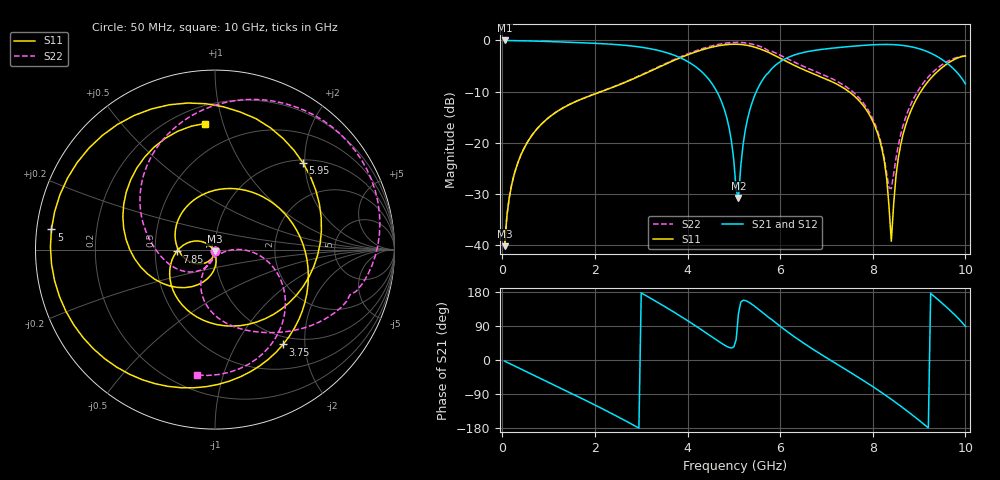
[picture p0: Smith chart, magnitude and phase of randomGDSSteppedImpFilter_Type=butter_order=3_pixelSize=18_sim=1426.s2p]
! freq	dB(S11)	phase(S11)	dB(S12)	phase(S12)
!  dB(S21)	phase(S21)	dB(S22)	phase(S22)
!S-par simulation data
#  GHz  S  DB  R 50
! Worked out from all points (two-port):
!   200 points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, 50 MHz to 10 GHz, reference 50 ohm
!   highest |S21| = -0.01 dB at 50 MHz (marker M1); lowest = -30.8 dB at 5.1 GHz (marker M2)
!   |S21| within 3 dB of the highest: start of sweep to 3.743 GHz; 6.257 GHz to 9.365 GHz (3.108 GHz wide, 39.8 % of centre)
!   lowest |S11| = -40.2 dB at 50 MHz (marker M3), VSWR 1.02, Z = 49.9 - j0.976 ohm
!   |S11| at or under -10 dB: start of sweep to 2.136 GHz; 7.484 GHz to 9.038 GHz (1.554 GHz wide, 18.8 % of centre)
!   |S22| runs from -40.2 to -0.4 dB; largest |S21 - S12| = 0
!   S11 on the Smith chart (normalised r, x): 50 MHz: 1.00, -0.02; 3.75 GHz: 0.87, -1.59; 5 GHz: 0.04, +0.06; 5.95 GHz: 1.07, +1.96; 7.85 GHz: 0.65, -0.01; 10 GHz: 0.31, +0.87
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0.05  -40.19 -92.8  -0.01 -3.0  -0.01 -3.0  -40.18 -91.5
0.2  -28.31 -104.5  -0.03 -11.9  -0.03 -11.9  -28.29 -99.0
0.5  -20.56 -127.0  -0.08 -29.7  -0.08 -29.7  -20.54 -113.3
1.75  -11.32 135.0  -0.46 -103.6  -0.46 -103.6  -11.29 -163.9
2.65  -8.20 52.4  -0.95 -159.8  -0.95 -159.8  -8.13 166.4
3.4  -5.14 -20.4  -2.02 148.9  -2.02 148.9  -5.02 136.2
3.75  -3.73 -54.3  -3.03 123.1  -3.03 123.1  -3.58 118.2
4.4  -1.61 -119.3  -6.98 71.6  -6.98 71.6  -1.38 78.4
5  -0.74 173.0  -23.49 34.5  -23.49 34.5  -0.39 35.3
5.05  -0.74 166.8  -29.23 53.9  -29.23 53.9  -0.38 31.5
5.1  -0.76 160.5  -30.75 123.0  -30.75 123.0  -0.38 27.7
5.35  -1.07 127.9  -13.42 150.4  -13.42 150.4  -0.63 8.8
5.95  -3.25 44.5  -4.49 93.7  -4.49 93.7  -2.66 -30.6
6.7  -6.45 -53.9  -2.01 29.0  -2.01 29.0  -5.83 -63.6
7.85  -13.41 -177.2  -0.93 -58.3  -0.93 -58.3  -12.89 -110.3
8.2  -21.28 148.8  -0.79 -86.6  -0.79 -86.6  -20.85 -116.6
8.35  -32.36 148.5  -0.79 -99.4  -0.79 -99.4  -28.79 -79.9
8.4  -39.23 -147.0  -0.80 -103.7  -0.80 -103.7  -28.93 -43.3
8.6  -20.51 -89.0  -0.93 -121.5  -0.93 -121.5  -18.48 0.4
9.1  -9.15 -147.4  -1.92 -169.1  -1.92 -169.1  -8.21 -22.8
9.55  -4.92 153.6  -4.07 144.1  -4.07 144.1  -4.43 -56.3
10  -3.04 94.6  -8.48 88.7  -8.48 88.7  -3.02 -98.3
